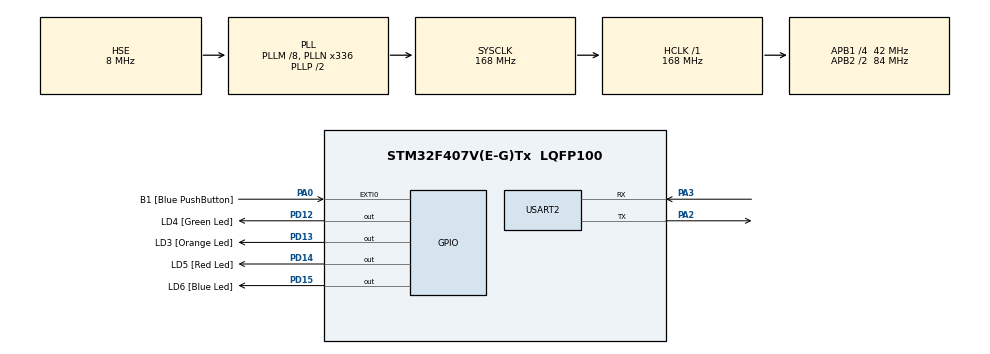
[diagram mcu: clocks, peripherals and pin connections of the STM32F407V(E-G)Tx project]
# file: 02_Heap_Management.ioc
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FREERTOS.Tasks01=defaultTask,24,128,StartDefaultTask,Default,NULL,Dynamic,NULL,NULL
FREERTOS.configCHECK_FOR_STACK_OVERFLOW=2
FREERTOS.configTOTAL_HEAP_SIZE=32768
FREERTOS.configUSE_IDLE_HOOK=0
FREERTOS.configUSE_MALLOC_FAILED_HOOK=1
FREERTOS.configUSE_TICK_HOOK=0
FREERTOS.configUSE_TRACE_FACILITY=1
Mcu.Family=STM32F4
Mcu.Name=STM32F407V(E-G)Tx
Mcu.Package=LQFP100
NVIC.EXTI0_IRQn=true\:5\:0\:false\:false\:true\:true\:true\:true\:true
NVIC.PriorityGroup=NVIC_PRIORITYGROUP_4
NVIC.TIM6_DAC_IRQn=true\:15\:0\:false\:false\:true\:false\:false\:true\:true
NVIC.TimeBase=TIM6_DAC_IRQn
NVIC.TimeBaseIP=TIM6
PA0-WKUP.GPIO_Label=B1 [Blue PushButton]
PA0-WKUP.GPIO_ModeDefaultEXTI=GPIO_MODE_IT_RISING
PA0-WKUP.GPIO_PuPd=GPIO_NOPULL
PA0-WKUP.Signal=GPXTI0
PA13.GPIO_Label=SWDIO
PA13.Mode=Serial_Wire
PA13.Signal=SYS_JTMS-SWDIO
PA14.GPIO_Label=SWCLK
PA14.Mode=Serial_Wire
PA14.Signal=SYS_JTCK-SWCLK
PA2.Mode=Asynchronous
PA2.Signal=USART2_TX
PA3.Mode=Asynchronous
PA3.Signal=USART2_RX
PB3.GPIO_Label=SWO
PB3.Signal=SYS_JTDO-SWO
PC14-OSC32_IN.GPIO_Label=PC14-OSC32_IN
PC14-OSC32_IN.Mode=LSE-External-Oscillator
PC14-OSC32_IN.Signal=RCC_OSC32_IN
PC15-OSC32_OUT.GPIO_Label=PC15-OSC32_OUT
PC15-OSC32_OUT.Mode=LSE-External-Oscillator
PC15-OSC32_OUT.Signal=RCC_OSC32_OUT
PD12.GPIO_Label=LD4 [Green Led]
PD12.GPIO_PuPd=GPIO_NOPULL
PD12.GPIO_Speed=GPIO_SPEED_FREQ_LOW
PD12.Signal=GPIO_Output
PD13.GPIO_Label=LD3 [Orange Led]
PD13.GPIO_PuPd=GPIO_NOPULL
PD13.GPIO_Speed=GPIO_SPEED_FREQ_LOW
PD13.Signal=GPIO_Output
PD14.GPIO_Label=LD5 [Red Led]
PD14.GPIO_PuPd=GPIO_NOPULL
PD14.GPIO_Speed=GPIO_SPEED_FREQ_LOW
PD14.Signal=GPIO_Output
PD15.GPIO_Label=LD6 [Blue Led]
PD15.GPIO_PuPd=GPIO_NOPULL
PD15.GPIO_Speed=GPIO_SPEED_FREQ_LOW
PD15.Signal=GPIO_Output
PH0-OSC_IN.GPIO_Label=PH0-OSC_IN
PH0-OSC_IN.Mode=HSE-External-Oscillator
PH0-OSC_IN.Signal=RCC_OSC_IN
PH1-OSC_OUT.GPIO_Label=PH1-OSC_OUT
PH1-OSC_OUT.Mode=HSE-External-Oscillator
PH1-OSC_OUT.Signal=RCC_OSC_OUT
ProjectManager.HeapSize=0x200
ProjectManager.StackSize=0x400
ProjectManager.TargetToolchain=STM32CubeIDE
RCC.48MHZClocksFreq_Value=48000000
RCC.AHBFreq_Value=168000000
RCC.APB1CLKDivider=RCC_HCLK_DIV4
RCC.APB1Freq_Value=42000000
RCC.APB1TimFreq_Value=84000000
RCC.APB2CLKDivider=RCC_HCLK_DIV2
RCC.APB2Freq_Value=84000000
RCC.APB2TimFreq_Value=168000000
RCC.CortexFreq_Value=168000000
RCC.HCLKFreq_Value=168000000
RCC.HSE_VALUE=8000000
RCC.HSI_VALUE=16000000
RCC.PLLM=8
RCC.PLLN=336
RCC.PLLQ=7
RCC.PLLSourceVirtual=RCC_PLLSOURCE_HSE
RCC.SYSCLKFreq_VALUE=168000000
RCC.SYSCLKSource=RCC_SYSCLKSOURCE_PLLCLK
RCC.VCOOutputFreq_Value=336000000
USART2.VirtualMode=VM_ASYNC
VP_FREERTOS_VS_CMSIS_V2.Mode=CMSIS_V2
VP_SYS_VS_tim6.Mode=TIM6
board=STM32F407G-DISC1

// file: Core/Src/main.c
/* USER CODE BEGIN Header */
/**
  ******************************************************************************
  * @file           : main.c
  * @brief          : Main program body
  ******************************************************************************
  * @attention
  *
  * Copyright (c) 2026 STMicroelectronics.
  * All rights reserved.
  *
  * This software is licensed under terms that can be found in the LICENSE file
  * in the root directory of this software component.
  * If no LICENSE file comes with this software, it is provided AS-IS.
  *
  ******************************************************************************
  */
/* USER CODE END Header */
#include "main.h"

/* USER CODE BEGIN Includes */
#include "FreeRTOS.h"
#include "task.h"
#include <stdio.h>
#include <string.h>
/* USER CODE END Includes */

UART_HandleTypeDef huart2;

void SystemClock_Config(void);
static void MX_GPIO_Init(void);
static void MX_USART2_UART_Init(void);

/* USER CODE BEGIN PFP */
static void UART_Print(const char *msg);
static void HeapTask(void *argument);
/* USER CODE END PFP */

int main(void)
{

  /* MCU Configuration--------------------------------------------------------*/

  /* Reset of all peripherals, Initializes the Flash interface and the Systick. */
  HAL_Init();

  /* Configure the system clock */
  SystemClock_Config();

  /* Initialize all configured peripherals */
  MX_GPIO_Init();
  MX_USART2_UART_Init();

  xTaskCreate(HeapTask, "HeapTask", 256, NULL, 2, NULL);

  vTaskStartScheduler();

  /* We should never get here as control is now taken by the scheduler */

  /* Infinite loop */
  while (1)
  {

  }
}

void SystemClock_Config(void)
{
  RCC_OscInitTypeDef RCC_OscInitStruct = {0};
  RCC_ClkInitTypeDef RCC_ClkInitStruct = {0};

  /** Configure the main internal regulator output voltage
  */
  __HAL_RCC_PWR_CLK_ENABLE();
  __HAL_PWR_VOLTAGESCALING_CONFIG(PWR_REGULATOR_VOLTAGE_SCALE1);

  /** Initializes the RCC Oscillators according to the specified parameters
  * in the RCC_OscInitTypeDef structure.
  */
  RCC_OscInitStruct.OscillatorType = RCC_OSCILLATORTYPE_HSE;
  RCC_OscInitStruct.HSEState = RCC_HSE_ON;
  RCC_OscInitStruct.PLL.PLLState = RCC_PLL_ON;
  RCC_OscInitStruct.PLL.PLLSource = RCC_PLLSOURCE_HSE;
  RCC_OscInitStruct.PLL.PLLM = 8;
  RCC_OscInitStruct.PLL.PLLN = 336;
  RCC_OscInitStruct.PLL.PLLP = RCC_PLLP_DIV2;
  RCC_OscInitStruct.PLL.PLLQ = 7;
  if (HAL_RCC_OscConfig(&RCC_OscInitStruct) != HAL_OK)
  {
    Error_Handler();
  }

  /** Initializes the CPU, AHB and APB buses clocks
  */
  RCC_ClkInitStruct.ClockType = RCC_CLOCKTYPE_HCLK|RCC_CLOCKTYPE_SYSCLK
                              |RCC_CLOCKTYPE_PCLK1|RCC_CLOCKTYPE_PCLK2;
  RCC_ClkInitStruct.SYSCLKSource = RCC_SYSCLKSOURCE_PLLCLK;
  RCC_ClkInitStruct.AHBCLKDivider = RCC_SYSCLK_DIV1;
  RCC_ClkInitStruct.APB1CLKDivider = RCC_HCLK_DIV4;
  RCC_ClkInitStruct.APB2CLKDivider = RCC_HCLK_DIV2;

  if (HAL_RCC_ClockConfig(&RCC_ClkInitStruct, FLASH_LATENCY_5) != HAL_OK)
  {
    Error_Handler();
  }
}

static void MX_USART2_UART_Init(void)
{

  huart2.Instance = USART2;
  huart2.Init.BaudRate = 115200;
  huart2.Init.WordLength = UART_WORDLENGTH_8B;
  huart2.Init.StopBits = UART_STOPBITS_1;
  huart2.Init.Parity = UART_PARITY_NONE;
  huart2.Init.Mode = UART_MODE_TX_RX;
  huart2.Init.HwFlowCtl = UART_HWCONTROL_NONE;
  huart2.Init.OverSampling = UART_OVERSAMPLING_16;
  if (HAL_UART_Init(&huart2) != HAL_OK)
  {
    Error_Handler();
  }

}

static void MX_GPIO_Init(void)
{
  GPIO_InitTypeDef GPIO_InitStruct = {0};

  /* GPIO Ports Clock Enable */
  __HAL_RCC_GPIOC_CLK_ENABLE();
  __HAL_RCC_GPIOH_CLK_ENABLE();
  __HAL_RCC_GPIOA_CLK_ENABLE();
  __HAL_RCC_GPIOD_CLK_ENABLE();
  __HAL_RCC_GPIOB_CLK_ENABLE();

  /*Configure GPIO pin Output Level */
  HAL_GPIO_WritePin(GPIOD, LD4_Pin|LD3_Pin|LD5_Pin|LD6_Pin, GPIO_PIN_RESET);

  /*Configure GPIO pin : B1_Pin */
  GPIO_InitStruct.Pin = B1_Pin;
  GPIO_InitStruct.Mode = GPIO_MODE_IT_RISING;
  GPIO_InitStruct.Pull = GPIO_NOPULL;
  HAL_GPIO_Init(B1_GPIO_Port, &GPIO_InitStruct);

  /*Configure GPIO pins : LD4_Pin LD3_Pin LD5_Pin LD6_Pin */
  GPIO_InitStruct.Pin = LD4_Pin|LD3_Pin|LD5_Pin|LD6_Pin;
  GPIO_InitStruct.Mode = GPIO_MODE_OUTPUT_PP;
  GPIO_InitStruct.Pull = GPIO_NOPULL;
  GPIO_InitStruct.Speed = GPIO_SPEED_FREQ_LOW;
  HAL_GPIO_Init(GPIOD, &GPIO_InitStruct);

  /* EXTI interrupt init*/
  HAL_NVIC_SetPriority(EXTI0_IRQn, 5, 0);
  HAL_NVIC_EnableIRQ(EXTI0_IRQn);

}

/* USER CODE BEGIN 4 */
static void UART_Print(const char *msg)
{
    HAL_UART_Transmit(&huart2, (uint8_t *)msg, strlen(msg), HAL_MAX_DELAY);
}

static void HeapTask(void *argument)
{
    char *buffer;
    char msg[100];

    size_t freeHeapBefore;
    size_t freeHeapAfterAlloc;
    size_t freeHeapAfterFree;
    size_t minEverFreeHeap;

    for (;;)
    {
        /* Heap before allocation */
        freeHeapBefore = xPortGetFreeHeapSize();

        snprintf(msg, sizeof(msg), "Free heap before allocation: %lu\r\n", (unsigned long)freeHeapBefore);

        UART_Print(msg);

        /* Allocate 100 bytes from FreeRTOS heap */
        buffer = (char *)pvPortMalloc(100);

        if (buffer != NULL)
        {
            UART_Print("Memory allocation successful\r\n");

            /* Use allocated memory */
            strcpy(buffer, "Hello from FreeRTOS heap");

            snprintf(msg, sizeof(msg), "Buffer: %s\r\n", buffer);

            UART_Print(msg);

            /* Heap after allocation */
            freeHeapAfterAlloc = xPortGetFreeHeapSize();

            snprintf(msg, sizeof(msg), "Free heap after allocation: %lu\r\n", (unsigned long)freeHeapAfterAlloc);

            UART_Print(msg);

            /* Release allocated memory */
            vPortFree(buffer);
            buffer = NULL;

            /* Heap after freeing */
            freeHeapAfterFree = xPortGetFreeHeapSize();

            snprintf(msg, sizeof(msg), "Free heap after free: %lu\r\n", (unsigned long)freeHeapAfterFree);

            UART_Print(msg);
        }
        else
        {
            UART_Print("Memory allocation FAILED\r\n");
        }

        /* Minimum ever free heap */
        minEverFreeHeap = xPortGetMinimumEverFreeHeapSize();

        snprintf(msg, sizeof(msg), "Minimum ever free heap: %lu\r\n", (unsigned long)minEverFreeHeap);

        UART_Print(msg);

        UART_Print("-----------------------------\r\n");

        vTaskDelay(pdMS_TO_TICKS(2000));
    }
}
/* USER CODE END 4 */

void HAL_TIM_PeriodElapsedCallback(TIM_HandleTypeDef *htim)
{
  if (htim->Instance == TIM6)
  {
    HAL_IncTick();
  }
}

void Error_Handler(void)
{
  __disable_irq();
  while (1)
  {
  }
}
